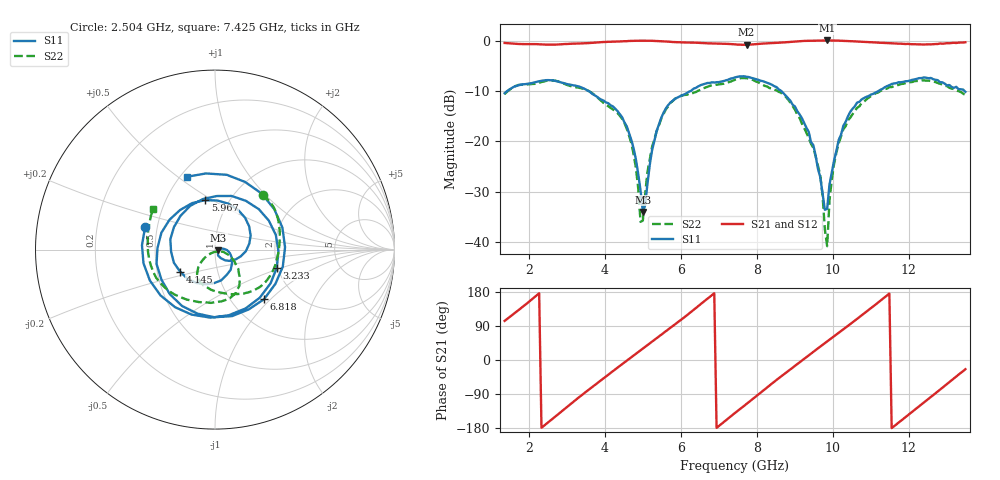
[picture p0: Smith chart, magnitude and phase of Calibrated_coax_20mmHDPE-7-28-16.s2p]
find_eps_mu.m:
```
%######################################################
% multiple frequency for plane wave incident on a panel
% sample has thickness d, free space case
%######################################################
clear
clc
%***************************************************
% constants
rad=pi/180;
eps0=8.85e-12;
mu0=4*pi*1e-7;
eta0=sqrt(mu0/eps0); % free space
c=1/sqrt(eps0*mu0);
%***************************************************
% variables
d=2e-2; % thickness of the sample
f1=2e9; df=18e6; f2=20e9; Nf=floor((f2-f1)/df)+1; % frequency range and
%***************************************************
% load raw data
%{
M1r=load('S11_mag.txt');
M2r=load('S21_mag.txt');
P1r=load('S11_ph.txt');
P2r=load('S21_ph.txt');
%}
thin_file = 'Calibrated_coax_20mmHDPE-7-28-16.s2p';
frequency = dlmread(thin_file,' ',9,0,[9 0 209 0])/1e9;
M1r = dlmread(thin_file,' ',9,1,[9 1 209 1]);
P1r = dlmread(thin_file,' ',9,2,[9 2 209 2]);
M2r = dlmread(thin_file,' ',9,3,[9 3 209 3]);
P2r = dlmread(thin_file,' ',9,4,[9 4 209 4]);
%{
Mag1=M1r(:,2);
Mag2=M2r(:,2);
Ph1=-unwrap(P1r(:,2),180);
Ph2=-unwrap(P2r(:,2),180);
f2=M1r(:,1)*1e9;
Nf=length(f2);
%}
Mag1 = M1r; Mag2 = M2r; Ph1 = -unwrap(P1r,180); Ph2 = -unwrap(P2r,180);
f2 = frequency*1e9; Nf = length(f2);
%*****************************************
% freqyency loop begin
for it=1:Nf
f=f2(it);
Fr(it)=f;
Fghz(it)=f/1e9;
fghz=f/1e9;
Z0=eta0; W=2*pi*Fr(it); beta0=W/c;
%*******************************************
% combine magnitude and phase of the S11 and S21
R(it)=Mag1(it)*exp(1i*Ph1(it)*rad);
T(it)=Mag2(it)*exp(1i*Ph2(it)*rad);
%*******************************************
% m loop begin
Max=0; % ---------m value set up
itt=0;
for m=-Max:Max
itt=itt+1;
%***************************************************
% using formulas from Robust method
Tp=T(it);
Z21(it)=sqrt(((1+R(it))^2-Tp^2)/((1-R(it))^2-Tp^2));
Z22(it)=-sqrt(((1+R(it))^2-Tp^2)/((1-R(it))^2-Tp^2));
expinkd1(it)=Tp/(1-R(it)*(Z21(it)-1)/(Z21(it)+1));
expinkd2(it)=Tp/(1-R(it)*(Z22(it)-1)/(Z22(it)+1));
if abs(real(Z21(it)))>=0.005 && real(Z21(it))>=0
expinkd(it)=expinkd1(it);
Z2(it)=Z21(it);
end
if abs(real(Z21(it)))>=0.005 && real(Z21(it))<0
expinkd(it)=expinkd2(it);
Z2(it)=Z22(it);
end
if abs(real(Z21(it)))<0.005 && abs(expinkd1(it))<=1
expinkd(it)=expinkd1(it);
Z2(it)=Z21(it);
end
if abs(real(Z21(it)))<0.005 && abs(expinkd1(it))>1
expinkd(it)=expinkd2(it);
Z2(it)=Z22(it);
end
ni(it)=-1/(beta0*d)*1i*real(log(expinkd(it))); % imag of n
nr(it,itt)=1/(beta0*d)*(imag(log(expinkd(it)))+2*m*pi); %real of n
n2(it,itt)=nr(it,itt)+ni(it);
Er2(it,itt)=n2(it,itt)/Z2(it);
Mr2(it,itt)=n2(it,itt)*Z2(it);
end % end of m loop
end % end of frequency loop
figure(1)
subplot(121);
plot(Fghz,real(Mr2));
xlabel('Frequency in GHz')
ylabel('Re(\mu)')
subplot(122)
plot(Fghz,imag(Mr2));
xlabel('Frequency in GHz')
ylabel('Im(\mu)')
figure(2)
subplot(121);
plot(Fghz,real(Er2));
xlabel('Frequency in GHz')
ylabel('Re(\epsilon)')
subplot(122)
plot(Fghz,imag(Er2));
xlabel('Frequency in GHz')
ylabel('Im(\epsilon)');
figure(3)
subplot(121);
plot(Fghz,real(n2));
xlabel('Frequency in GHz')
ylabel('Re(n)')
subplot(122)
plot(Fghz,imag(n2));
xlabel('Frequency in GHz')
ylabel('Im(n)')
figure(4)
subplot(121);
plot(Fghz,real(Z2));
xlabel('Frequency in GHz')
ylabel('Re(Z)')
subplot(122)
plot(Fghz,imag(Z2));
xlabel('Frequency in GHz')
ylabel('Im(Z)');
```
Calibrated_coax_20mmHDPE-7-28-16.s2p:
!Agilent Technologies,N5230C,MY48100320,A.08.04.10
!Agilent N5230C: A.08.04.10
!Date: Friday, July 29, 2016 03:03:13
!Correction: S11(Full 2 Port(1,2))
!S21(Full 2 Port(1,2))
!S12(Full 2 Port(1,2))
!S22(Full 2 Port(1,2))
!S2P File: Measurements: S11, S21, S12, S22:
# Hz S  dB  R 50
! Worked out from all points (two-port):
!   201 points, 1.35 GHz to 13.5 GHz, reference 50 ohm
!   highest |S21| = 0.13 dB at 9.855 GHz (marker M1); lowest = -0.7 dB at 7.729 GHz (marker M2)
!   |S21| within 3 dB of the highest: start of sweep to end of sweep
!   lowest |S11| = -34.1 dB at 4.995 GHz (marker M3), VSWR 1.04, Z = 52 - j0.387 ohm
!   |S11| at or under -10 dB: start of sweep to 1.408 GHz; 3.574 GHz to 6.235 GHz (2.661 GHz wide, 54.3 % of centre); 8.654 GHz to 11.2 GHz (2.543 GHz wide, 25.6 % of centre)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
!   |S22| runs from -40.9 to -7.3 dB; largest |S21 - S12| = 0.0029
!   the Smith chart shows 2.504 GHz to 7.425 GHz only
!   S11 on the Smith chart (normalised r, x): 2.504 GHz: 0.43, +0.13; 3.233 GHz: 1.98, -0.46; 4.145 GHz: 0.66, -0.17; 5.967 GHz: 0.78, +0.46; 6.818 GHz: 1.40, -0.91; 7.425 GHz: 0.54, +0.54
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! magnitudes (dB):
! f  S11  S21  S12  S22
! 1.35 GHz  -10.4  -0.4  -0.4  -10.6
! 2.504 GHz  -7.8  -0.7  -0.7  -7.8
! 3.233 GHz  -8.9  -0.5  -0.5  -9.2
! 4.145 GHz  -12.8  -0.1  -0.1  -13.3
! 4.995 GHz  -34.1  0.1  0.1  -35.8
! 5.967 GHz  -11.0  -0.2  -0.2  -11.0
! 6.818 GHz  -8.2  -0.5  -0.5  -8.8
! 7.425 GHz  -7.2  -0.6  -0.6  -7.7
! 7.729 GHz  -7.1  -0.7  -0.7  -7.4
! 9.855 GHz  -33.4  0.1  0.1  -40.9
! 13.5 GHz  -10.1  -0.2  -0.2  -10.8
